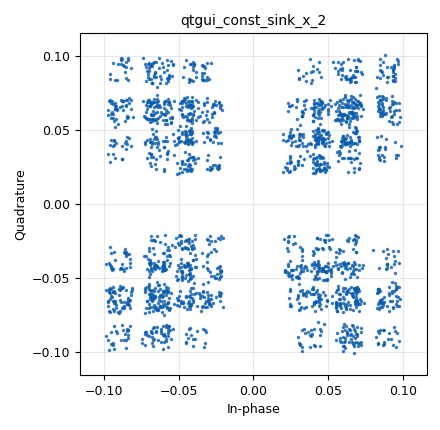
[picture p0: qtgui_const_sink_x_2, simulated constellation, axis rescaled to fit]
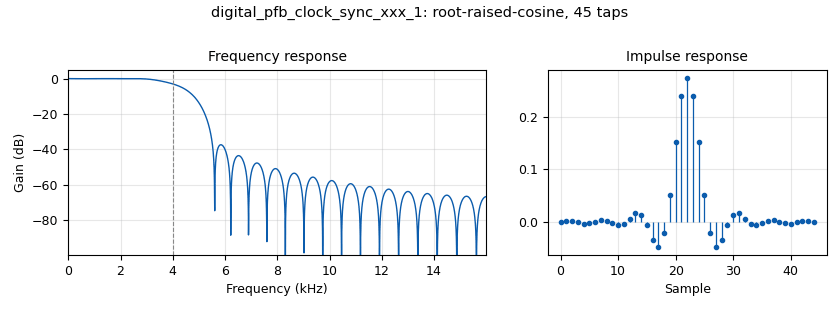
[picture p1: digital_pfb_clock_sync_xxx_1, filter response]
options:
  parameters:
    generate_options: qt_gui
    id: untitled
    output_language: python
    title: Not titled yet
  states: {}

blocks:
- name: excess_bw
  id: variable
  parameters:
    value: '350e-3'
  states: {}
- name: rrc_taps
  id: variable
  parameters:
    value: firdes.root_raised_cosine(1.0,samp_rate,samp_rate/sps,excess_bw,11*sps)
  states: {}
- name: samp_rate
  id: variable
  parameters:
    value: 32e3
  states: {}
- name: sps
  id: variable
  parameters:
    value: '4'
  states: {}
- name: variable_constellation_0
  id: variable_constellation
  parameters:
    precision: '8'
    type: qpsk
  states: {}
- name: variable_rrc_filter_taps_0
  id: variable_rrc_filter_taps
  parameters:
    alpha: '0.35'
    gain: '1.0'
    ntaps: 11*sps
    samp_rate: samp_rate
  states: {state: disabled}
- name: analog_random_uniform_source_x_0
  id: analog_random_uniform_source_x
  parameters:
    maximum: '255'
    minimum: '0'
    seed: '0'
    type: byte
  states: {}
- name: blocks_char_to_float_0
  id: blocks_char_to_float
  parameters:
    scale: '1'
  states: {state: disabled}
- name: blocks_throttle2_0
  id: blocks_throttle2
  parameters:
    samples_per_second: samp_rate
    type: complex
  states: {}
- name: digital_binary_slicer_fb_0
  id: digital_binary_slicer_fb
  parameters: {}
  states: {state: disabled}
- name: digital_constellation_modulator_0
  id: digital_constellation_modulator
  parameters:
    constellation: variable_constellation_0
    differential: 'True'
    excess_bw: excess_bw
    log: 'True'
    samples_per_symbol: sps
  states: {}
- name: digital_constellation_soft_decoder_cf_0
  id: digital_constellation_soft_decoder_cf
  parameters:
    constellation: variable_constellation_0
  states: {state: disabled}
- name: digital_pfb_clock_sync_xxx_0
  id: digital_pfb_clock_sync_xxx
  parameters:
    filter_size: '32'
    init_phase: '16'
    loop_bw: '62.8e-3'
    max_dev: '1.5'
    osps: '1'
    sps: '2'
    type: ccf
  states: {state: disabled}
- name: digital_pfb_clock_sync_xxx_1
  id: digital_pfb_clock_sync_xxx
  parameters:
    filter_size: '32'
    init_phase: '16'
    loop_bw: '62.8e-3'
    max_dev: '1.5'
    osps: '1'
    sps: '4.004'
    taps: rrc_taps
    type: ccf
  states: {}
- name: fir_filter_xxx_0
  id: fir_filter_xxx
  parameters:
    decim: '1'
    taps: rrc_taps
    type: ccc
  states: {state: disabled}
- name: fir_filter_xxx_0_0
  id: fir_filter_xxx
  parameters:
    decim: '1'
    taps: rrc_taps
    type: ccc
  states: {state: disabled}
- name: interp_fir_filter_xxx_0
  id: interp_fir_filter_xxx
  parameters:
    interp: '4'
    taps: rrc_taps
    type: ccc
  states: {state: disabled}
- name: qtgui_const_sink_x_0
  id: qtgui_const_sink_x
  parameters:
    size: '1024'
    type: complex
  states: {state: disabled}
- name: qtgui_const_sink_x_1
  id: qtgui_const_sink_x
  parameters:
    nconnections: '2'
    size: '4096'
    type: complex
  states: {state: disabled}
- name: qtgui_const_sink_x_2
  id: qtgui_const_sink_x
  parameters:
    size: '2048'
    type: complex
  states: {}
- name: qtgui_freq_sink_x_1
  id: qtgui_freq_sink_x
  parameters:
    bw: samp_rate
    fc: '0'
    fftsize: '1024'
    type: complex
  states: {state: disabled}
- name: qtgui_freq_sink_x_1_0
  id: qtgui_freq_sink_x
  parameters:
    bw: samp_rate
    fc: '0'
    fftsize: '1024'
    type: complex
  states: {state: disabled}
- name: qtgui_freq_sink_x_1_0_0
  id: qtgui_freq_sink_x
  parameters:
    bw: samp_rate
    fc: '0'
    fftsize: '1024'
    type: complex
  states: {state: disabled}
- name: qtgui_sink_x_0
  id: qtgui_sink_x
  parameters:
    bw: samp_rate
    fc: '0'
    fftsize: '1024'
    type: complex
  states: {state: disabled}
- name: qtgui_sink_x_0_0
  id: qtgui_sink_x
  parameters:
    bw: samp_rate
    fc: '0'
    fftsize: '1024'
    type: complex
  states: {state: disabled}
- name: qtgui_time_sink_x_0
  id: qtgui_time_sink_x
  parameters:
    size: '1024'
    srate: samp_rate
    type: float
  states: {state: disabled}
- name: uhd_usrp_sink_0
  id: uhd_usrp_sink
  parameters:
    ant0: '"TX/RX"'
    center_freq0: '0'
    gain0: '0'
    samp_rate: samp_rate
    sync: sync
    type: fc32
  states: {state: disabled}
- name: uhd_usrp_source_0
  id: uhd_usrp_source
  parameters:
    ant0: '"RX2"'
    center_freq0: '0'
    gain0: '0'
    samp_rate: samp_rate
    sync: sync
    type: fc32
  states: {state: disabled}

connections:
- [analog_random_uniform_source_x_0, '0', digital_constellation_modulator_0, '0']
- [blocks_char_to_float_0, '0', qtgui_time_sink_x_0, '0']
- [blocks_throttle2_0, '0', digital_pfb_clock_sync_xxx_1, '0']
- [blocks_throttle2_0, '0', fir_filter_xxx_0, '0']
- [blocks_throttle2_0, '0', interp_fir_filter_xxx_0, '0']
- [blocks_throttle2_0, '0', qtgui_const_sink_x_1, '0']
- [blocks_throttle2_0, '0', qtgui_freq_sink_x_1, '0']
- [digital_binary_slicer_fb_0, '0', blocks_char_to_float_0, '0']
- [digital_constellation_modulator_0, '0', blocks_throttle2_0, '0']
- [digital_constellation_modulator_0, '0', digital_pfb_clock_sync_xxx_0, '0']
- [digital_constellation_modulator_0, '0', qtgui_sink_x_0, '0']
- [digital_constellation_modulator_0, '0', uhd_usrp_sink_0, '0']
- [digital_constellation_soft_decoder_cf_0, '0', digital_binary_slicer_fb_0, '0']
- [digital_pfb_clock_sync_xxx_0, '0', digital_constellation_soft_decoder_cf_0, '0']
- [digital_pfb_clock_sync_xxx_0, '0', qtgui_const_sink_x_0, '0']
- [digital_pfb_clock_sync_xxx_1, '0', qtgui_const_sink_x_2, '0']
- [fir_filter_xxx_0, '0', qtgui_const_sink_x_1, '1']
- [fir_filter_xxx_0, '0', qtgui_freq_sink_x_1_0, '0']
- [fir_filter_xxx_0_0, '0', qtgui_sink_x_0_0, '0']
- [interp_fir_filter_xxx_0, '0', fir_filter_xxx_0_0, '0']
- [interp_fir_filter_xxx_0, '0', qtgui_freq_sink_x_1_0_0, '0']

metadata:
  file_format: 1
  grc_version: 3.10.7.0
